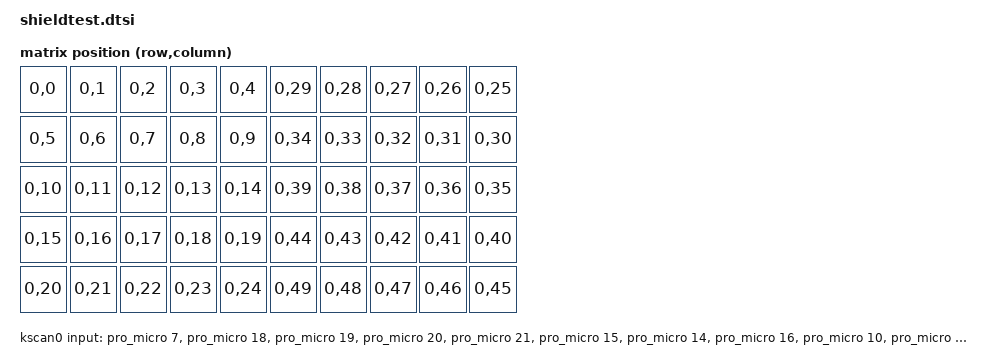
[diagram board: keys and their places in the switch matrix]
/*
 * Copyright (c) 2020 The ZMK Contributors
 *
 * SPDX-License-Identifier: MIT
 */

#include <dt-bindings/zmk/matrix_transform.h>

/ {

	chosen {
		zmk,kscan = &kscan0;
		zmk,matrix_transform = &default_transform;

    // epd display
		zephyr,display = &epd;
	};

	default_transform: keymap_transform_0 {
		compatible = "zmk,matrix-transform";
		columns = <50>;
		rows = <1>;
		map = <
		RC(0,0)  RC(0,1)  RC(0,2)  RC(0,3)  RC(0,4)    RC(0,29) RC(0,28) RC(0,27) RC(0,26) RC(0,25)
		RC(0,5)  RC(0,6)  RC(0,7)  RC(0,8)  RC(0,9)    RC(0,34) RC(0,33) RC(0,32) RC(0,31) RC(0,30) 
		RC(0,10) RC(0,11) RC(0,12) RC(0,13) RC(0,14)   RC(0,39) RC(0,38) RC(0,37) RC(0,36) RC(0,35) 
		RC(0,15) RC(0,16) RC(0,17) RC(0,18) RC(0,19)   RC(0,44) RC(0,43) RC(0,42) RC(0,41) RC(0,40)
    RC(0,20) RC(0,21) RC(0,22) RC(0,23) RC(0,24)   RC(0,49) RC(0,48) RC(0,47) RC(0,46) RC(0,45)
    >;
	};

	kscan0: kscan {
		compatible = "zmk,kscan-gpio-direct";
		label = "KSCAN";
		input-gpios
		= <&pro_micro  7 (GPIO_ACTIVE_LOW | GPIO_PULL_UP)>
		, <&pro_micro 18 (GPIO_ACTIVE_LOW | GPIO_PULL_UP)>
		, <&pro_micro 19 (GPIO_ACTIVE_LOW | GPIO_PULL_UP)>
		, <&pro_micro 20 (GPIO_ACTIVE_LOW | GPIO_PULL_UP)>
		, <&pro_micro 21 (GPIO_ACTIVE_LOW | GPIO_PULL_UP)>
		, <&pro_micro 15 (GPIO_ACTIVE_LOW | GPIO_PULL_UP)>
		, <&pro_micro 14 (GPIO_ACTIVE_LOW | GPIO_PULL_UP)>
		, <&pro_micro 16 (GPIO_ACTIVE_LOW | GPIO_PULL_UP)>
		, <&pro_micro 10 (GPIO_ACTIVE_LOW | GPIO_PULL_UP)>
		, <&pro_micro  1 (GPIO_ACTIVE_LOW | GPIO_PULL_UP)>
		, <&pro_micro  2 (GPIO_ACTIVE_LOW | GPIO_PULL_UP)>
		, <&pro_micro  3 (GPIO_ACTIVE_LOW | GPIO_PULL_UP)>
		, <&pro_micro  4 (GPIO_ACTIVE_LOW | GPIO_PULL_UP)>
		, <&pro_micro  5 (GPIO_ACTIVE_LOW | GPIO_PULL_UP)>
		, <&pro_micro  6 (GPIO_ACTIVE_LOW | GPIO_PULL_UP)>
		, <&pro_micro  8 (GPIO_ACTIVE_LOW | GPIO_PULL_UP)>
		, <&pro_micro  9 (GPIO_ACTIVE_LOW | GPIO_PULL_UP)>
		, <&pro_micro  0 (GPIO_ACTIVE_LOW | GPIO_PULL_UP)>
		, <&gpio1      0 (GPIO_ACTIVE_LOW | GPIO_PULL_UP)>
		, <&gpio1      2 (GPIO_ACTIVE_LOW | GPIO_PULL_UP)>
		, <&gpio1      4 (GPIO_ACTIVE_LOW | GPIO_PULL_UP)>
		, <&gpio0      7 (GPIO_ACTIVE_LOW | GPIO_PULL_UP)>
		, <&gpio0      12 (GPIO_ACTIVE_LOW | GPIO_PULL_UP)>
		, <&gpio0      22 (GPIO_ACTIVE_LOW | GPIO_PULL_UP)>
		, <&gpio0      26 (GPIO_ACTIVE_LOW | GPIO_PULL_UP)>
		;
	};

};

&spi1 {
  /* nrfmacro.dts */
  sck-pin = <22>;
  mosi-pin = <7>;
  // not used, but required by spim binding
  miso-pin = <5>;

  /* shield.dtsi */
  status = "okay";
  // clock-frequency = <>;
  cs-gpios = <&gpio1 0 GPIO_ACTIVE_LOW>;

  // spi-device: gooddisplay GDEW0102T4
  epd: il0203@0 {
    compatible = "gooddisplay,il0323";
    label = "DISPLAY";
    reg = <0>;
    spi-max-frequency = <todo>;
    // duplex = <>;
    // frame-format = <>;

    height = <128>;
    weight = <80>;
    reset-gpios = <&gpio0 12 GPIO_ACTIVE_LOW>;
    dc-gpios    = <&gpio1 2 GPIO_ACTIVE_LOW>;
    busy-gpios  = <&gpio0 26 GPIO_ACTIVE_LOW>;
    pwr = <todo>;
    cdi = <todo>;
    tcon = <todo>;
  }; 
};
